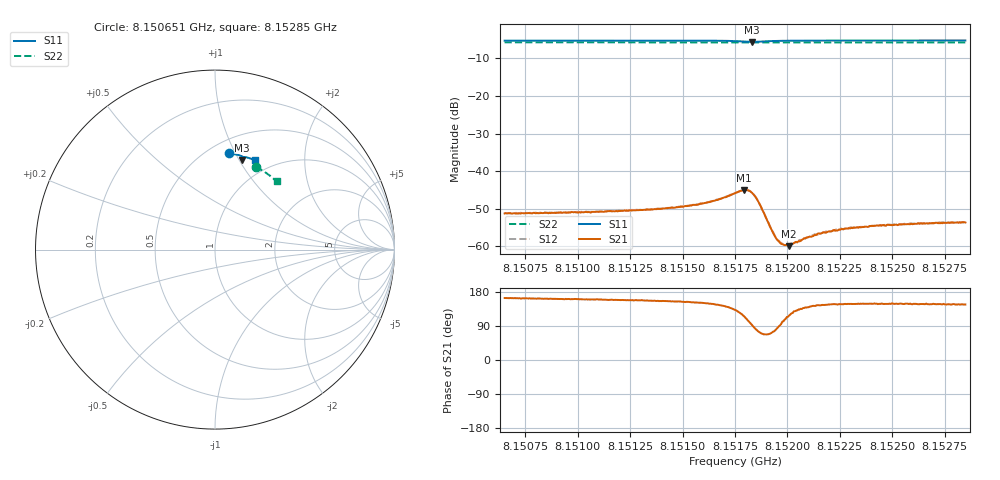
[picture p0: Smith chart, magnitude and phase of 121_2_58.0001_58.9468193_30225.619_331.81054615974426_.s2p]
#  HZ  S  RI  R  50.00
! Rohde & Schwarz Vector Network Analyzer
! Rohde-Schwarz,ZNB20-2Port,1311601062101988,3.16
! Created: UTC 3/21/2024, 12:55:43 AM
! freq[Hz]  re:S11  im:S11  re:S21  im:S21  re:S12  im:S12  re:S22  im:S22
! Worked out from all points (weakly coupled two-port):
!   401 points, 8.150651 GHz to 8.15285 GHz, reference 50 ohm
!   highest |S21| = -45.01 dB at 8.151794 GHz (marker M1); lowest = -59.9 dB at 8.152009 GHz (marker M2)
!   lowest |S11| = -5.7 dB at 8.151833 GHz (marker M3), VSWR 3.18, Z = 37.6 + j51.5 ohm
!   |S11| at or under -10 dB: nowhere
!   |S22| runs from -5.8 to -5.8 dB; largest |S21 - S12| = 0.00015
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8.1506509e9  0.0781 0.5362  -0.00263 0.000778  -0.0026 0.000858  0.2286 0.4614
8.1510192e9  0.1042 0.5325  -0.00269 0.000959  -0.00271 0.00102  0.2494 0.4499
8.1513875e9  0.1307 0.5267  -0.00286 0.00131  -0.00289 0.00131  0.2698 0.4375
8.1516019e9  0.1479 0.5215  -0.00326 0.00186  -0.00325 0.00191  0.2813 0.4299
8.1516788e9  0.1545 0.5175  -0.00348 0.00247  -0.00347 0.00255  0.2854 0.427
8.1517503e9  0.1603 0.5101  -0.00342 0.00378  -0.00339 0.00385  0.2891 0.424
8.1517943e9  0.1595 0.5021  -0.00237 0.00509  -0.00232 0.00512  0.2911 0.4221
8.1518163e9  0.1556 0.499  -0.00114 0.00538  -0.00107 0.00543  0.2921 0.4215
8.1518328e9  0.1514 0.4989  -0.000114 0.00511  -8.1e-05 0.00515  0.2927 0.4208
8.1518492e9  0.1482 0.5012  0.000677 0.00444  0.000716 0.00448  0.2935 0.4204
8.1518657e9  0.1466 0.5046  0.00105 0.0036  0.00109 0.00358  0.2942 0.42
8.1519262e9  0.1512 0.5138  0.000492 0.00156  0.00055 0.00154  0.2976 0.418
8.1519482e9  0.1539 0.5152  0.000187 0.00125  0.000184 0.00127  0.2987 0.417
8.1519647e9  0.1559 0.5156  -2.5e-05 0.00112  -1.23e-05 0.00115  0.2995 0.4165
8.1519812e9  0.1579 0.516  -0.000226 0.00103  -0.000234 0.00102  0.3004 0.4159
8.1520087e9  0.1609 0.5161  -0.000459 0.000898  -0.000466 0.000941  0.302 0.415
8.1521186e9  0.171 0.5151  -0.00108 0.000831  -0.00111 0.00088  0.3076 0.4106
8.1521571e9  0.1741 0.5145  -0.00119 0.000864  -0.00124 0.000884  0.3097 0.409
8.152267e9  0.1826 0.5122  -0.00142 0.000922  -0.0014 0.000923  0.3154 0.4046
8.1524869e9  0.198 0.5071  -0.00164 0.001  -0.00164 0.00105  0.3261 0.3956
8.1527342e9  0.2148 0.5009  -0.00172 0.00111  -0.00173 0.00116  0.3378 0.3851
8.1528497e9  0.2222 0.4978  -0.00173 0.00115  -0.00173 0.00116  0.3433 0.38
